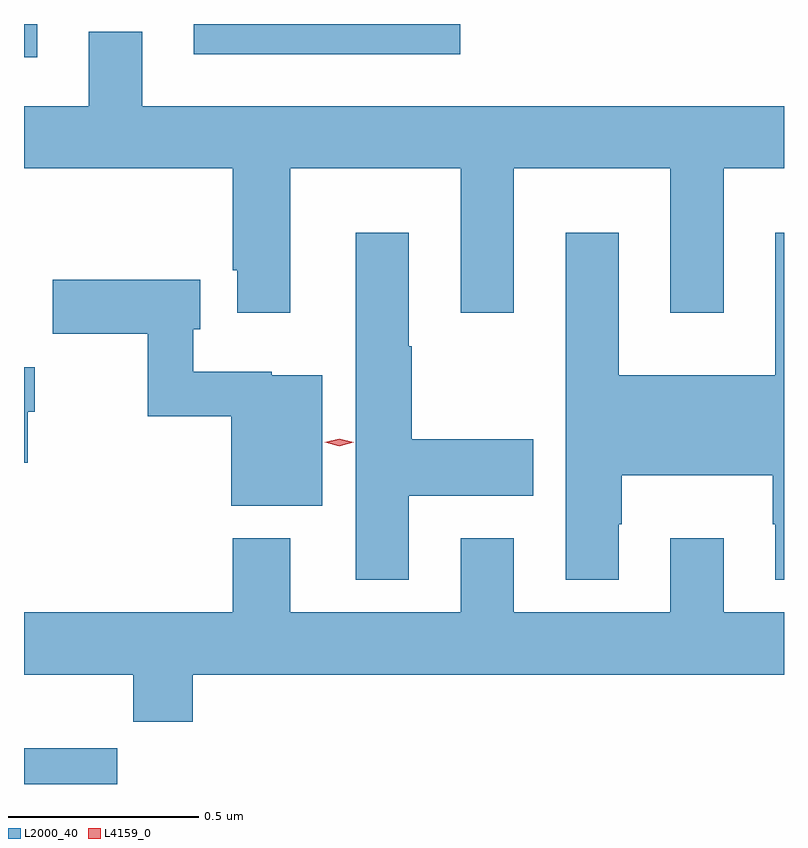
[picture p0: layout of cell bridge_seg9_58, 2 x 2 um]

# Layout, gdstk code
import gdstk
lib = gdstk.Library(unit=1e-6, precision=1e-09)
def R(c, l, rs):  # rectangles x0, y0, x1, y1
    for r in rs: c.add(gdstk.rectangle(r[:2], r[2:], *l))
def P(c, l, *ps):  # polygons
    for p in ps: c.add(gdstk.Polygon(p, *l))
L2000_40 = (2000, 40)
L4159_0 = (4159, 0)

bridge_seg9_58 = lib.new_cell('bridge_seg9_58')
R(bridge_seg9_58, L2000_40, [(1095.44,1210.784,1095.686,1210.878), (1095.44,1212.696,1095.475,1212.784), (1095.887,1212.704,1096.588,1212.784)])
P(bridge_seg9_58, L2000_40, [(1096.141,1212.404),(1096.589,1212.404),(1096.589,1212.024),(1096.729,1212.024),(1096.729,1212.404),(1097.141,1212.404),(1097.141,1212.024),(1097.281,1212.024),(1097.281,1212.404),(1097.44,1212.404),(1097.44,1212.568),(1095.751,1212.568),(1095.751,1212.763),(1095.611,1212.763),(1095.611,1212.568),(1095.44,1212.568),(1095.44,1212.404),(1095.989,1212.404),(1095.989,1212.136),(1096.001,1212.136),(1096.001,1212.024),(1096.141,1212.024)],
  [(1097.005,1211.468),(1097.013,1211.468),(1097.013,1211.597),(1097.41,1211.597),(1097.41,1211.468),(1097.417,1211.468),(1097.417,1211.322),(1097.44,1211.322),(1097.44,1212.235),(1097.417,1212.235),(1097.417,1211.86),(1097.005,1211.86),(1097.005,1212.235),(1096.865,1212.235),(1096.865,1211.322),(1097.005,1211.322)],
  [(1096.453,1211.543),(1096.78,1211.543),(1096.78,1211.691),(1096.461,1211.691),(1096.461,1211.936),(1096.453,1211.936),(1096.453,1212.235),(1096.313,1212.235),(1096.313,1211.322),(1096.453,1211.322)],
  [(1096.225,1211.86),(1096.092,1211.86),(1096.092,1211.869),(1095.886,1211.869),(1095.886,1211.981),(1095.904,1211.981),(1095.904,1212.111),(1095.516,1212.111),(1095.516,1211.969),(1095.765,1211.969),(1095.765,1211.752),(1095.986,1211.752),(1095.986,1211.516),(1096.225,1211.516)],
  [(1095.45,1211.763),(1095.468,1211.763),(1095.468,1211.881),(1095.44,1211.881),(1095.44,1211.63),(1095.45,1211.63)],
  [(1095.884,1211.072),(1097.44,1211.072),(1097.44,1211.236),(1097.281,1211.236),(1097.281,1211.431),(1097.141,1211.431),(1097.141,1211.236),(1096.729,1211.236),(1096.729,1211.431),(1096.589,1211.431),(1096.589,1211.236),(1096.141,1211.236),(1096.141,1211.431),(1095.989,1211.431),(1095.989,1211.236),(1095.44,1211.236),(1095.44,1211.072),(1095.727,1211.072),(1095.727,1210.948),(1095.884,1210.948)])
P(bridge_seg9_58, L4159_0, [(1096.27,1211.673),(1096.232,1211.683),(1096.231,1211.683),(1096.232,1211.683),(1096.27,1211.693),(1096.308,1211.684),(1096.308,1211.684),(1096.308,1211.683)])

lib.write_gds('bridge_seg9_58.gds')
